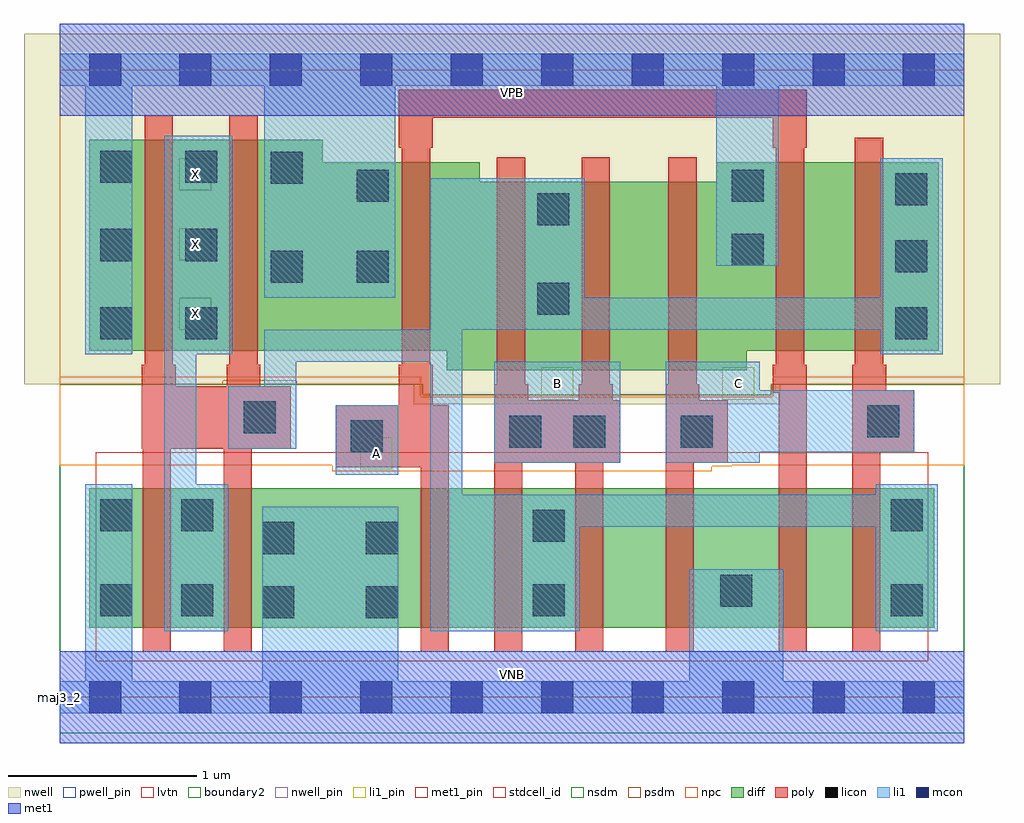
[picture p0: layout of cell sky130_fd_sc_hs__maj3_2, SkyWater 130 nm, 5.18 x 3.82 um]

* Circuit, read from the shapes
.subckt sky130_fd_sc_hs__maj3_2 A B C VGND VNB VPB VPWR X
XM1 X n1 VGND VNB sky130_fd_pr__nfet_01v8_lvt w=0.74 l=0.15 m=2
XM2 n2 A VGND VNB sky130_fd_pr__nfet_01v8_lvt w=0.74 l=0.15
XM3 n1 B n2 VNB sky130_fd_pr__nfet_01v8_lvt w=0.74 l=0.15
XM4 n3 B n1 VNB sky130_fd_pr__nfet_01v8_lvt w=0.74 l=0.15
XM5 VGND C n3 VNB sky130_fd_pr__nfet_01v8_lvt w=0.74 l=0.15
XM6 n4 A VGND VNB sky130_fd_pr__nfet_01v8_lvt w=0.74 l=0.15
XM7 n1 C n4 VNB sky130_fd_pr__nfet_01v8_lvt w=0.74 l=0.15
XM8 X n1 VPWR VPB sky130_fd_pr__pfet_01v8 w=1.12 l=0.15 m=2
XM9 n5 A VPWR VPB sky130_fd_pr__pfet_01v8 w=1 l=0.15
XM10 n1 B n5 VPB sky130_fd_pr__pfet_01v8 w=1 l=0.15
XM11 n6 B n1 VPB sky130_fd_pr__pfet_01v8 w=1 l=0.15
XM12 VPWR C n6 VPB sky130_fd_pr__pfet_01v8 w=1 l=0.15
XM13 n7 A VPWR VPB sky130_fd_pr__pfet_01v8 w=1 l=0.15
XM14 n1 C n7 VPB sky130_fd_pr__pfet_01v8 w=1 l=0.15
.ends

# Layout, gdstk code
import gdstk
lib = gdstk.Library(unit=1e-6, precision=1e-09)
def R(c, l, rs):  # rectangles x0, y0, x1, y1
    for r in rs: c.add(gdstk.rectangle(r[:2], r[2:], *l))
def A(c, l, x, y, w, h, nx, ny, dx, dy):  # array of equal rectangles
    R(c, l, [(x+i*dx, y+j*dy, x+i*dx+w, y+j*dy+h) for i in range(nx) for j in range(ny)])
def P(c, l, *ps):  # polygons
    for p in ps: c.add(gdstk.Polygon(p, *l))
nwell_pin = (64, 16)
nwell = (64, 20)
diff = (65, 20)
poly = (66, 20)
licon = (66, 44)
li1_pin = (67, 16)
li1 = (67, 20)
mcon = (67, 44)
met1_pin = (68, 16)
met1 = (68, 20)
stdcell_id = (81, 4)
nsdm = (93, 44)
psdm = (94, 20)
npc = (95, 20)
pwell_pin = (122, 16)
lvtn = (125, 44)
boundary2 = (236, 0)

sky130_fd_sc_hs__maj3_2 = lib.new_cell('sky130_fd_sc_hs__maj3_2')
R(sky130_fd_sc_hs__maj3_2, nwell_pin, [(0,3.085,4.8,3.33)])
P(sky130_fd_sc_hs__maj3_2, nwell, [(4.99,3.52),(-0.19,3.52),(-0.19,1.66),(1.875,1.66),(1.875,1.555),(3.825,1.555),(3.825,1.66),(4.99,1.66)])
R(sky130_fd_sc_hs__maj3_2, diff, [(0.155,0.37,4.64,1.11)])
P(sky130_fd_sc_hs__maj3_2, diff, [(4.665,2.84),(3.485,2.84),(3.485,2.735),(2.23,2.735),(2.23,2.84),(1.395,2.84),(1.395,2.96),(0.155,2.96),(0.155,1.84),(2.055,1.84),(2.055,1.735),(3.645,1.735),(3.645,1.84),(4.665,1.84)])
P(sky130_fd_sc_hs__maj3_2, poly, [(4.535,1.63),(4.385,1.63),(4.385,1.765),(4.37,1.765),(4.37,2.97),(4.22,2.97),(4.22,1.765),(4.205,1.765),(4.205,0.24),(4.355,0.24),(4.355,1.3),(4.535,1.3)],
  [(3.965,1.765),(3.95,1.765),(3.95,2.915),(3.965,2.915),(3.965,3.225),(1.8,3.225),(1.8,2.915),(1.815,2.915),(1.815,1.765),(1.8,1.765),(1.8,1.55),(1.465,1.55),(1.465,1.22),(1.915,1.22),(1.915,0.24),(2.065,0.24),(2.065,1.55),(1.98,1.55),(1.98,1.765),(1.965,1.765),(1.965,2.915),(1.98,2.915),(1.98,3.075),(3.785,3.075),(3.785,2.915),(3.8,2.915),(3.8,1.765),(3.785,1.765),(3.785,1.615),(3.815,1.615),(3.815,0.24),(3.965,0.24)],
  [(3.545,1.575),(3.395,1.575),(3.395,1.66),(3.38,1.66),(3.38,2.865),(3.23,2.865),(3.23,1.66),(3.215,1.66),(3.215,0.24),(3.365,0.24),(3.365,1.245),(3.545,1.245)],
  [(2.975,1.575),(2.935,1.575),(2.935,1.66),(2.92,1.66),(2.92,2.865),(2.77,2.865),(2.77,1.66),(2.755,1.66),(2.755,1.575),(2.485,1.575),(2.485,1.66),(2.47,1.66),(2.47,2.865),(2.32,2.865),(2.32,1.66),(2.305,1.66),(2.305,0.24),(2.455,0.24),(2.455,1.245),(2.735,1.245),(2.735,0.24),(2.885,0.24),(2.885,1.245),(2.975,1.245)],
  [(1.225,1.65),(1.065,1.65),(1.065,1.765),(1.05,1.765),(1.05,3.09),(0.9,3.09),(0.9,1.765),(0.885,1.765),(0.885,1.65),(0.615,1.65),(0.615,1.765),(0.6,1.765),(0.6,3.09),(0.45,3.09),(0.45,1.765),(0.435,1.765),(0.435,1.32),(0.44,1.32),(0.44,0.24),(0.59,0.24),(0.59,1.32),(0.87,1.32),(0.87,0.24),(1.02,0.24),(1.02,1.32),(1.225,1.32)])
A(sky130_fd_sc_hs__maj3_2, licon, 0.215, 1.9, 0.17, 0.17, 1, 3, 0, 0.415)
A(sky130_fd_sc_hs__maj3_2, licon, 0.665, 1.9, 0.17, 0.17, 1, 3, 0, 0.415)
A(sky130_fd_sc_hs__maj3_2, licon, 4.435, 1.9, 0.17, 0.17, 1, 3, 0, 0.355)
R(sky130_fd_sc_hs__maj3_2, licon, [(1.075,0.42,1.245,0.59), (1.625,0.42,1.795,0.59), (0.215,0.43,0.385,0.6), (0.645,0.43,0.815,0.6), (2.51,0.43,2.68,0.6), (4.41,0.43,4.58,0.6), (3.505,0.48,3.675,0.65), (1.075,0.76,1.245,0.93), (1.625,0.76,1.795,0.93), (2.51,0.825,2.68,0.995), (0.215,0.88,0.385,1.05), (0.645,0.88,0.815,1.05), (4.41,0.88,4.58,1.05), (1.545,1.3,1.715,1.47), (2.385,1.325,2.555,1.495), (2.725,1.325,2.895,1.495), (3.295,1.325,3.465,1.495), (4.285,1.38,4.455,1.55), (0.975,1.4,1.145,1.57), (2.535,2.03,2.705,2.2), (1.12,2.2,1.29,2.37), (1.575,2.2,1.745,2.37), (3.565,2.29,3.735,2.46), (2.535,2.505,2.705,2.675), (1.575,2.63,1.745,2.8), (3.565,2.63,3.735,2.8), (1.12,2.725,1.29,2.895)])
A(sky130_fd_sc_hs__maj3_2, li1_pin, 0.635, 1.95, 0.17, 0.17, 1, 3, 0, 0.37)
R(sky130_fd_sc_hs__maj3_2, li1_pin, [(1.595,1.21,1.765,1.38), (2.555,1.58,2.725,1.75), (3.515,1.58,3.685,1.75)])
R(sky130_fd_sc_hs__maj3_2, li1, [(1.465,1.18,1.795,1.55), (2.305,1.245,2.975,1.78)])
P(sky130_fd_sc_hs__maj3_2, li1, [(0,-0.085),(0,0.085),(0.135,0.085),(0.135,1.13),(0.385,1.13),(0.385,0.085),(1.075,0.085),(1.075,1.01),(1.795,1.01),(1.795,0.085),(3.34,0.085),(3.34,0.68),(3.84,0.68),(3.84,0.085),(4.8,0.085),(4.8,-0.085)],
  [(0,3.245),(0,3.415),(4.8,3.415),(4.8,3.245),(3.815,3.245),(3.815,2.29),(3.485,2.29),(3.485,3.245),(1.78,3.245),(1.78,2.12),(1.085,2.12),(1.085,3.245),(0.385,3.245),(0.385,1.82),(0.135,1.82),(0.135,3.245)],
  [(3.715,1.63),(4.535,1.63),(4.535,1.3),(3.715,1.3),(3.715,1.245),(3.215,1.245),(3.215,1.78),(3.715,1.78)],
  [(0.915,2.98),(0.915,1.82),(0.725,1.82),(0.725,1.13),(0.895,1.13),(0.895,0.35),(0.555,0.35),(0.555,2.98)],
  [(2.785,2.12),(4.355,2.12),(4.355,2.86),(4.685,2.86),(4.685,1.82),(4.355,1.82),(4.355,1.95),(2.135,1.95),(2.135,1.075),(4.33,1.075),(4.33,1.13),(4.66,1.13),(4.66,0.35),(4.33,0.35),(4.33,0.905),(2.76,0.905),(2.76,0.35),(1.965,0.35),(1.965,1.78),(1.255,1.78),(1.255,1.32),(0.895,1.32),(0.895,1.65),(1.085,1.65),(1.085,1.95),(1.965,1.95),(1.965,2.755),(2.785,2.755)])
A(sky130_fd_sc_hs__maj3_2, mcon, 0.155, -0.085, 0.17, 0.17, 10, 2, 0.48, 3.33)
R(sky130_fd_sc_hs__maj3_2, met1_pin, [(0,0,4.8,0.245), (0,3.085,4.8,3.33)])
R(sky130_fd_sc_hs__maj3_2, met1, [(0,-0.245,4.8,0.245), (0,3.085,4.8,3.575)])
R(sky130_fd_sc_hs__maj3_2, stdcell_id, [(0,0,4.8,3.33)])
P(sky130_fd_sc_hs__maj3_2, nsdm, [(4.8,1.66),(3.775,1.66),(3.775,1.605),(1.925,1.605),(1.925,1.66),(0,1.66),(0,-0.19),(4.8,-0.19)])
P(sky130_fd_sc_hs__maj3_2, psdm, [(4.8,3.52),(0,3.52),(0,1.66),(0.865,1.66),(0.865,1.68),(1.255,1.68),(1.255,1.66),(1.925,1.66),(1.925,1.605),(3.775,1.605),(3.775,1.66),(4.8,1.66)])
P(sky130_fd_sc_hs__maj3_2, npc, [(4.8,1.7),(3.785,1.7),(3.785,1.595),(1.915,1.595),(1.915,1.7),(0,1.7),(0,1.23),(1.445,1.23),(1.445,1.2),(3.46,1.2),(3.46,1.225),(3.565,1.225),(3.565,1.23),(4.8,1.23)])
R(sky130_fd_sc_hs__maj3_2, pwell_pin, [(0,0,4.8,0.245)])
R(sky130_fd_sc_hs__maj3_2, lvtn, [(0.19,0.19,4.61,1.3)])
R(sky130_fd_sc_hs__maj3_2, boundary2, [(0,0,4.8,3.33)])
sky130_fd_sc_hs__maj3_2.add(gdstk.Label('maj3_2', (0,0), layer=83, texttype=44))
sky130_fd_sc_hs__maj3_2.add(gdstk.Label('VNB', (2.4,0.123), layer=64, texttype=59))
sky130_fd_sc_hs__maj3_2.add(gdstk.Label('VPB', (2.4,3.208), layer=64, texttype=5))
sky130_fd_sc_hs__maj3_2.add(gdstk.Label('VPWR', (2.4,3.208), layer=68, texttype=5))
sky130_fd_sc_hs__maj3_2.add(gdstk.Label('VGND', (2.4,0.123), layer=68, texttype=5))
sky130_fd_sc_hs__maj3_2.add(gdstk.Label('B', (2.64,1.665), layer=67, texttype=5))
sky130_fd_sc_hs__maj3_2.add(gdstk.Label('C', (3.6,1.665), layer=67, texttype=5))
sky130_fd_sc_hs__maj3_2.add(gdstk.Label('X', (0.72,2.035), layer=67, texttype=5))
sky130_fd_sc_hs__maj3_2.add(gdstk.Label('X', (0.72,2.405), layer=67, texttype=5))
sky130_fd_sc_hs__maj3_2.add(gdstk.Label('X', (0.72,2.775), layer=67, texttype=5))
sky130_fd_sc_hs__maj3_2.add(gdstk.Label('A', (1.68,1.295), layer=67, texttype=5))

lib.write_gds('sky130_fd_sc_hs__maj3_2.gds')
